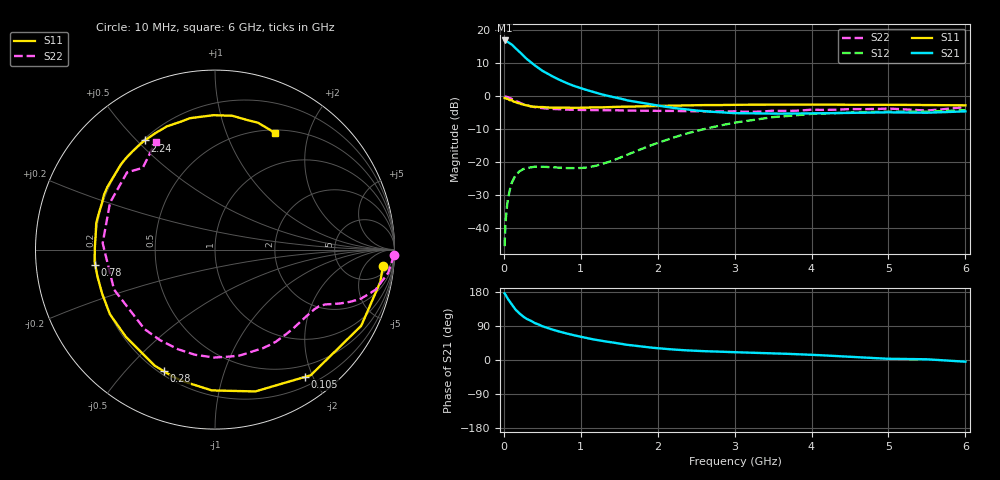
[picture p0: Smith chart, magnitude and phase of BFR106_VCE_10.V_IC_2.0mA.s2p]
! Infineon Technologies  Discrete & RF Semiconductors
! BFR106
! VCE =  10. V,  IC =  2.0 mA
! Common Emitter S-Parameters:  Nov 2015
# GHz  S  MA  R  50
!  f  S11  S21  S12  S22
! GHz  MAG  ANG  MAG  ANG  MAG  ANG  MAG  ANG
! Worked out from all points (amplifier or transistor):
!   210 points, 10 MHz to 6 GHz, reference 50 ohm
!   highest |S21| = 17.0 dB at 10 MHz (marker M1)
!   |S21| within 3 dB of that: start of sweep to 182.5 MHz
!   unconditionally stable (mu >= 1): 784.8 MHz to 1.802 GHz; 4.141 GHz to end of sweep
!   at 185 MHz: K = 0.24, MSG = 18.6 dB, |S12| = -23.2 dB
!   at 1.52 GHz: K = 1.16, MAG = 6.5 dB, |S12| = -18.5 dB
!   at 6 GHz: K = 1.02, MAG = -1.0 dB, |S12| = -4.2 dB
!   S11 on the Smith chart (normalised r, x): 10 MHz: 9, -15; 105 MHz: 0.33, -1.89; 280 MHz: 0.22, -0.64; 780 MHz: 0.20, -0.06; 2.24 GHz: 0.21, +0.53; 6 GHz: 0.54, +1.50
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0.01  0.9401 -5.6  7.049 175.7  0.0053 87.5  0.997 -1.6
0.025  0.93 -13.8  6.912 171.1  0.0132 81.4  0.9876 -3.9
0.05  0.9187 -27.5  6.733 161.9  0.026 75.0  0.9734 -7.7
0.1  0.8801 -52.7  6.173 147.1  0.0477 62.6  0.9215 -14.1
0.105  0.8691 -54.7  6.082 145.9  0.0491 61.2  0.9149 -14.5
0.155  0.8147 -75.7  5.343 132.3  0.0635 51.1  0.8527 -18.8
0.2  0.7847 -91.3  4.789 123.5  0.0721 44.7  0.8053 -21.2
0.24  0.7555 -103.1  4.298 116.6  0.077 40.0  0.7693 -22.8
0.28  0.735 -112.9  3.874 111.0  0.0802 36.8  0.7417 -24.0
0.3  0.7286 -117.5  3.676 108.2  0.0816 35.4  0.7293 -24.5
0.4  0.695 -135.5  2.962 97.8  0.0852 30.3  0.6851 -26.5
0.5  0.6874 -148.3  2.447 89.1  0.0851 28.3  0.6598 -28.6
0.6  0.6751 -158.6  2.096 82.1  0.0844 28.4  0.6462 -30.9
0.78  0.6727 -172.9  1.659 71.9  0.0817 32.3  0.6311 -35.8
1.02  0.6707 171.9  1.306 60.3  0.0818 43.8  0.6204 -43.1
1.6  0.6953 145.5  0.869 40.2  0.1286 71.0  0.6104 -64.3
2.02  0.7145 130.1  0.719 30.7  0.1998 73.9  0.6015 -82.3
2.24  0.7228 122.7  0.658 27.2  0.2435 72.1  0.5989 -92.4
3.1  0.7441 98.8  0.553 20.0  0.4132 54.3  0.5841 -137.0
4.1  0.7496 81.4  0.552 12.8  0.5449 30.3  0.623 172.5
5.1  0.744 70.4  0.569 2.9  0.5848 11.7  0.6424 137.3
6  0.7291 62.9  0.591 -4.5  0.6162 -0.2  0.6855 118.8
